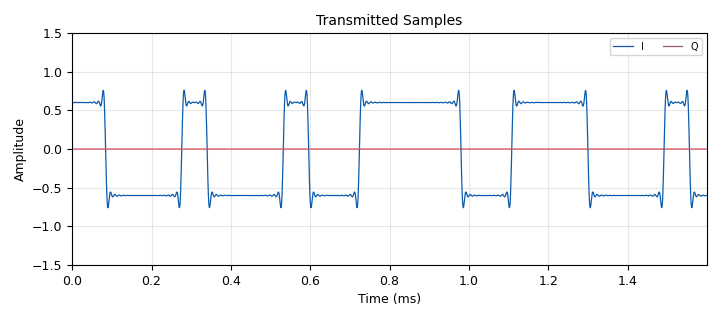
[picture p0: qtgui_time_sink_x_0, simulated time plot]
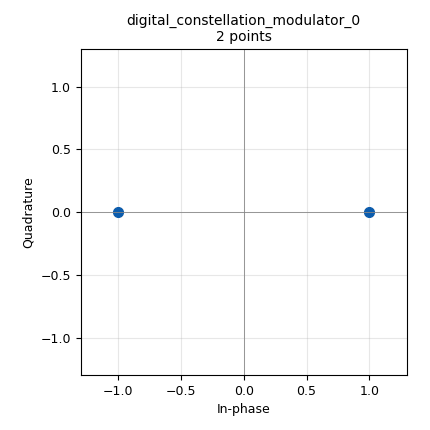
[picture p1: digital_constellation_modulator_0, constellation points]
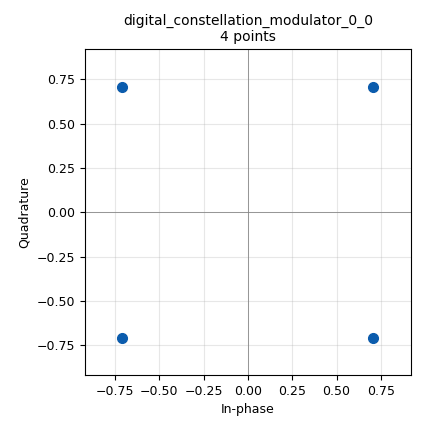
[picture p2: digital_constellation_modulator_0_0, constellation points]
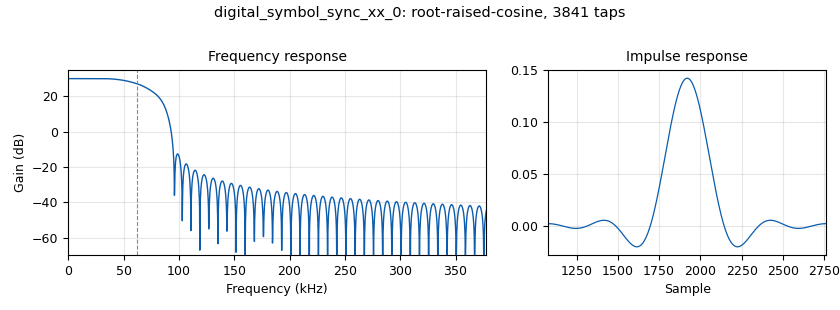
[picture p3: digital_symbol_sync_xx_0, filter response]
options:
  parameters:
    generate_options: qt_gui
    generator_class_name: PythonQtGuiGenerator
    generator_module: gnuradio.grc.workflows.python_qt_gui
    id: VariableModulation
    output_language: python
    title: Variable Modulations
  states: {}

blocks:
- name: alpha
  id: variable
  parameters:
    value: '0.5'
  states: {}
- name: bpsk
  id: variable_constellation
  parameters:
    const_points: '[-1+0j, 1 + 0j]'
    dims: '1'
    normalization: digital.constellation.AMPLITUDE_NORMALIZATION
    npwr: '1'
    precision: '8'
    rot_sym: '4'
    sym_map: '[0, 1]'
    type: calcdist
  states: {}
- name: buff_size
  id: variable
  parameters:
    value: 2**15
  states: {}
- name: const_chooser
  id: variable_qtgui_chooser
  parameters:
    gui_hint: (0, 0, 1, 2)
    label0: bpsk
    label1: qpsk
    label2: qam16
    label3: qam32
    num_opts: '4'
    option0: '0'
    option1: '1'
    option2: '2'
    option3: '3'
    orient: Qt.QHBoxLayout
    type: raw
    value: '0'
    widget: radio_buttons
  states: {}
- name: costas_loop_bw
  id: variable_qtgui_range
  parameters:
    gui_hint: (4,1,1,1)
    label: Costas Loop Bw [cycles/sample]
    start: '0.001'
    step: '0.001'
    stop: '0.2'
    value: '0.02'
  states: {}
- name: lms
  id: variable_adaptive_algorithm
  parameters:
    cons: qam16
    step_size: '0.3'
    type: lms
  states: {}
- name: lms_32
  id: variable_adaptive_algorithm
  parameters:
    cons: qam32
    step_size: '0.6'
    type: lms
  states: {}
- name: lo_freq
  id: variable
  parameters:
    value: '2200000000'
  states: {}
- name: lo_p
  id: variable_qtgui_range
  parameters:
    gui_hint: (6, 1, 1, 1)
    label: LO Diff
    start: '-25000'
    step: '10'
    stop: '25000'
    value: '0'
  states: {}
- name: nfilts
  id: variable
  parameters:
    value: '32'
  states: {}
- name: offset_rx
  id: variable_qtgui_range
  parameters:
    gui_hint: (6, 0, 1, 1)
    start: '-3 * 10 ** 5'
    step: '1'
    stop: 2.5 * 10 **5
    value: '-10 **  5'
  states: {}
- name: offset_tx
  id: variable
  parameters:
    value: '100000'
  states: {}
- name: out_sps
  id: variable
  parameters:
    value: '1'
  states: {}
- name: phase_shift_after_costas_loop
  id: variable_qtgui_range
  parameters:
    gui_hint: (4,0,1,1)
    label: Ph Shift (after CL) [rad]
    start: '0'
    step: '0.01'
    stop: 2*math.pi
    value: '0'
  states: {}
- name: pluto_ip_rx
  id: variable_config
  parameters:
    config_file: default
    option: key
    section: main
    type: string
    value: ip:192.168.2.1
    writeback: None
  states: {}
- name: pluto_ip_tx
  id: variable_config
  parameters:
    config_file: default
    option: key
    section: main
    type: string
    value: ip:192.168.3.1
    writeback: None
  states: {}
- name: qam16
  id: variable_constellation
  parameters:
    const_points: '[-3-3j, -1-3j, 1-3j, 3-3j, -3-1j, -1-1j, 1-1j, 3-1j, -3+1j, -1+1j, 1+1j, 3+1j, -3+3j, -1+3j, 1+3j, 3+3j]'
    dims: '1'
    normalization: digital.constellation.AMPLITUDE_NORMALIZATION
    npwr: '1'
    precision: '8'
    rot_sym: '4'
    sym_map: '[0, 1, 2, 3, 4, 5, 6, 7, 8, 9, 10, 11, 12, 13, 14, 15]'
    type: calcdist
  states: {}
- name: qam32
  id: variable_constellation
  parameters:
    const_points: '[-5-3j, -3-3j, -1-3j, 1-3j, 3-3j, 5-3j, -5-1j, -3-1j, -1-1j, 1-1j, 3-1j, 5-1j, -5+1j, -3+1j, -1+1j, 1+1j, 3+1j, 5+1j, -5+3j, -3+3j, -1+3j, 1+3j, 3+3j, 5+3j, -3-5j, -1-5j, 1-5j, 3-5j, -3+5j, -1+5j, 1+5j, 3+5j]'
    dims: '1'
    normalization: digital.constellation.AMPLITUDE_NORMALIZATION
    npwr: '1'
    precision: '8'
    rot_sym: '4'
    sym_map: '[0, 1, 2, 3, 4, 5, 6, 7, 8, 9, 10, 11, 12, 13, 14, 15, 16, 17, 18, 19, 20, 21, 22, 23, 24, 25, 26, 27, 28, 29, 30, 31]'
    type: calcdist
  states: {}
- name: qpsk
  id: variable_constellation
  parameters:
    const_points: '[-1 - 1j, +1 - 1j, +1+1j, -1 + 1j]'
    dims: '1'
    normalization: digital.constellation.AMPLITUDE_NORMALIZATION
    npwr: '1'
    precision: '8'
    rot_sym: '4'
    sym_map: '[0, 1, 2, 3]'
    type: calcdist
  states: {}
- name: rnd_mod_fnc
  id: variable_function_probe
  parameters:
    block_id: rnd_mod
    function_name: level
    poll_rate: '1'
    value: '0'
  states: {}
- name: rrc_taps
  id: variable_rrc_filter_taps
  parameters:
    alpha: alpha
    gain: nfilts
    ntaps: 15 * sps * nfilts
    samp_rate: nfilts * samp_rate
    sym_rate: samp_rate/sps
  states: {}
- name: rx_gain
  id: variable_qtgui_range
  parameters:
    gui_hint: (2,1,1,1)
    start: '0'
    step: '1'
    stop: '60'
    value: '15'
  states: {}
- name: samp_rate
  id: variable
  parameters:
    value: 10**6
  states: {}
- name: sps
  id: variable
  parameters:
    value: '8'
  states: {}
- name: tx_attenuation
  id: variable_qtgui_range
  parameters:
    gui_hint: (2,0,1,1)
    start: '0'
    step: '1'
    stop: '89'
    value: '10'
  states: {}
- name: analog_agc_xx_0
  id: analog_agc_xx
  parameters:
    gain: '1.0'
    max_gain: '65536'
    rate: '1e-4'
    reference: '1.0'
    type: complex
  states: {}
- name: analog_random_uniform_source_x_0
  id: analog_random_uniform_source_x
  parameters:
    maximum: '256'
    minimum: '0'
    seed: '0'
    type: byte
  states: {}
- name: analog_random_uniform_source_x_1
  id: analog_random_uniform_source_x
  parameters:
    maximum: '256'
    minimum: '0'
    seed: '0'
    type: byte
  states: {}
- name: analog_random_uniform_source_x_2
  id: analog_random_uniform_source_x
  parameters:
    maximum: '256'
    minimum: '0'
    seed: '0'
    type: byte
  states: {}
- name: analog_random_uniform_source_x_3
  id: analog_random_uniform_source_x
  parameters:
    maximum: '256'
    minimum: '0'
    seed: '0'
    type: byte
  states: {}
- name: analog_random_uniform_source_x_3_0
  id: analog_random_uniform_source_x
  parameters:
    maximum: '4'
    minimum: '0'
    seed: '0'
    type: byte
  states: {}
- name: analog_sig_source_x_0
  id: analog_sig_source_x
  parameters:
    amp: '1'
    freq: offset_tx
    offset: '0'
    phase: '0'
    samp_rate: samp_rate
    type: complex
    waveform: analog.GR_COS_WAVE
  states: {}
- name: analog_sig_source_x_0_0
  id: analog_sig_source_x
  parameters:
    amp: '1'
    freq: offset_rx
    offset: '0'
    phase: '0'
    samp_rate: samp_rate
    type: complex
    waveform: analog.GR_COS_WAVE
  states: {}
- name: blocks_keep_one_in_n_0
  id: blocks_keep_one_in_n
  parameters:
    n: '1000'
    type: byte
  states: {}
- name: blocks_multiply_const_vxx_0
  id: blocks_multiply_const_vxx
  parameters:
    const: '0.6'
    type: complex
  states: {}
- name: blocks_multiply_xx_0
  id: blocks_multiply_xx
  parameters:
    type: complex
  states: {}
- name: blocks_multiply_xx_0_0
  id: blocks_multiply_xx
  parameters:
    type: complex
  states: {}
- name: blocks_packed_to_unpacked_xx_0
  id: blocks_packed_to_unpacked_xx
  parameters:
    bits_per_chunk: '1'
    endianness: gr.GR_MSB_FIRST
    type: byte
  states: {}
- name: blocks_packed_to_unpacked_xx_0_0
  id: blocks_packed_to_unpacked_xx
  parameters:
    bits_per_chunk: '2'
    endianness: gr.GR_MSB_FIRST
    type: byte
  states: {}
- name: blocks_packed_to_unpacked_xx_0_1
  id: blocks_packed_to_unpacked_xx
  parameters:
    bits_per_chunk: '4'
    endianness: gr.GR_MSB_FIRST
    type: byte
  states: {}
- name: blocks_packed_to_unpacked_xx_0_1_0
  id: blocks_packed_to_unpacked_xx
  parameters:
    bits_per_chunk: '5'
    endianness: gr.GR_MSB_FIRST
    type: byte
  states: {}
- name: blocks_phase_shift_0
  id: blocks_phase_shift
  parameters:
    is_radians: 'True'
    shift: phase_shift_after_costas_loop
  states: {}
- name: blocks_selector_0_0
  id: blocks_selector
  parameters:
    enabled: 'True'
    input_index: const_chooser
    num_inputs: '4'
    num_outputs: '1'
    output_index: '0'
    type: complex
  states: {}
- name: blocks_selector_0_0_0
  id: blocks_selector
  parameters:
    enabled: 'True'
    input_index: const_chooser
    num_inputs: '4'
    num_outputs: '1'
    output_index: '0'
    type: complex
  states: {}
- name: blocks_selector_0_1
  id: blocks_selector
  parameters:
    enabled: 'True'
    input_index: '0'
    num_inputs: '1'
    num_outputs: '4'
    output_index: const_chooser
    type: complex
  states: {}
- name: blocks_skiphead_0
  id: blocks_skiphead
  parameters:
    num_items: samp_rate
    type: complex
  states: {}
- name: blocks_stream_to_vector_0
  id: blocks_stream_to_vector
  parameters:
    num_items: '2048'
    type: complex
  states: {}
- name: digital_constellation_modulator_0
  id: digital_constellation_modulator
  parameters:
    constellation: bpsk
    differential: 'True'
    excess_bw: alpha
    samples_per_symbol: sps
  states: {}
- name: digital_constellation_modulator_0_0
  id: digital_constellation_modulator
  parameters:
    constellation: qpsk
    differential: 'True'
    excess_bw: alpha
    samples_per_symbol: sps
  states: {}
- name: digital_constellation_modulator_0_0_0
  id: digital_constellation_modulator
  parameters:
    constellation: qam16
    differential: 'True'
    excess_bw: alpha
    samples_per_symbol: sps
  states: {}
- name: digital_constellation_modulator_0_0_0_0
  id: digital_constellation_modulator
  parameters:
    constellation: qam32
    differential: 'True'
    excess_bw: alpha
    samples_per_symbol: sps
  states: {}
- name: digital_costas_loop_cc_0
  id: digital_costas_loop_cc
  parameters:
    order: bpsk.arity()
    w: 2*math.pi*costas_loop_bw
  states: {}
- name: digital_costas_loop_cc_0_0
  id: digital_costas_loop_cc
  parameters:
    order: qpsk.arity()
    w: 2*math.pi*costas_loop_bw
  states: {}
- name: digital_fll_band_edge_cc_0
  id: digital_fll_band_edge_cc
  parameters:
    filter_size: sps*2+1
    rolloff: alpha
    samps_per_sym: sps
    type: cc
    w: 2*math.pi/sps/100
  states: {}
- name: digital_linear_equalizer_0
  id: digital_linear_equalizer
  parameters:
    alg: lms
    num_taps: '1'
    sps: out_sps
    training_start_tag: '""'
  states: {}
- name: digital_linear_equalizer_0_0
  id: digital_linear_equalizer
  parameters:
    alg: lms_32
    num_taps: '1'
    sps: out_sps
    training_start_tag: '""'
  states: {}
- name: digital_symbol_sync_xx_0
  id: digital_symbol_sync_xx
  parameters:
    constellation: None
    damping: '0.707'
    loop_bw: '0.015'
    max_dev: '1.5'
    nfilters: nfilts
    osps: out_sps
    pfb_mf_taps: rrc_taps
    resamp_type: digital.IR_PFB_MF
    sps: sps
    ted_gain: '2'
    ted_type: digital.TED_GARDNER
    type: cc
  states: {}
- name: epy_block_0
  id: epy_block
  parameters:
    _source_code: |
      import numpy as np
      from gnuradio import gr

      class labeled_iq_block(gr.sync_block):
          """Appends modulation label to I/Q vector"""
          
          def __init__(self, label_var=0):
              gr.sync_block.__init__(
                  self,
                  name='Labeled IQ',
                  in_sig=[(np.complex64, 2048)],  # Input: 2048 complex samples
                  out_sig=[(np.float32, 4097)]    # Output: 4096 floats + 1 label
              )
              self.label_var = label_var
          
          def set_label_var(self, label_var):
              self.label_var = label_var
          
          def work(self, input_items, output_items):
              # Get label - handle both callable and direct value
              if callable(self.label_var):
                  label = float(self.label_var())
              else:
                  label = float(self.label_var)
              
              for i in range(len(input_items[0])):
                  iq = input_items[0][i]
                  # Interleave I/Q: [I0, Q0, I1, Q1, ...]
                  output_items[0][i][:4096:2] = iq.real
                  output_items[0][i][1:4096:2] = iq.imag
                  # Append label as last element
                  output_items[0][i][4096] = label
              return len(input_items[0])
    label_var: const_chooser
  states: {state: disabled}
- name: iio_pluto_sink_0
  id: iio_pluto_sink
  parameters:
    attenuation1: tx_attenuation
    bandwidth: samp_rate * 5
    buffer_size: buff_size
    cyclic: 'False'
    filter_source: '''Auto'''
    frequency: lo_freq + lo_p
    samplerate: samp_rate
    type: fc32
    uri: pluto_ip_tx
  states: {}
- name: iio_pluto_source_0
  id: iio_pluto_source
  parameters:
    bandwidth: samp_rate * 5
    bbdc: 'True'
    buffer_size: buff_size
    filter_source: '''Auto'''
    frequency: lo_freq
    gain1: '''manual'''
    manual_gain1: rx_gain
    quadrature: 'True'
    rfdc: 'True'
    samplerate: samp_rate
    type: fc32
    uri: pluto_ip_rx
  states: {}
- name: import_0
  id: import
  parameters:
    imports: import math
  states: {}
- name: import_0_0
  id: import
  parameters:
    imports: import numpy as np
  states: {}
- name: note_0
  id: note
  parameters:
    note: Used for sending samples through a network
  states: {}
- name: qtgui_const_sink_x_0
  id: qtgui_const_sink_x
  parameters:
    grid: 'True'
    gui_hint: (3,1,1,1)
    label1: Before fine-tuning
    label2: After fine-tuning
    name: Constellation After Sync
    nconnections: '2'
    size: 1024 * 2
    type: complex
    update_time: '0.1'
  states: {}
- name: qtgui_const_sink_x_1
  id: qtgui_const_sink_x
  parameters:
    gui_hint: (3, 0, 1, 1)
    label1: Before Sync
    name: '"Constellation Before Sync"'
    size: '1024'
    type: complex
    update_time: '0.1'
  states: {}
- name: qtgui_eye_sink_x_0
  id: qtgui_eye_sink_x
  parameters:
    gui_hint: (7,0,1,2)
    samp_per_symbol: '1'
    size: '100'
    srate: samp_rate
    type: complex
    update_time: '0.1'
    yunit: ''
  states: {}
- name: qtgui_freq_sink_x_0_0
  id: qtgui_freq_sink_x
  parameters:
    bw: samp_rate / 2
    fc: '0'
    fftsize: '8192'
    gui_hint: (5,0,1,2)
    label1: TX
    label2: RX Raw
    label3: RX After Filter
    name: '"Frequencies"'
    nconnections: '3'
    type: complex
    update_time: '0.1'
    ymin: '-145'
  states: {}
- name: qtgui_time_sink_x_0
  id: qtgui_time_sink_x
  parameters:
    gui_hint: (1,0,1,1)
    label1: I
    label2: Q
    name: Transmitted Samples
    size: 200 * sps
    srate: samp_rate
    type: complex
    update_time: '0.1'
    ylabel: '"Amplitude"'
    ymax: '1.5'
    ymin: '-1.5'
  states: {}
- name: qtgui_time_sink_x_1
  id: qtgui_time_sink_x
  parameters:
    gui_hint: (1,1,1,1)
    label1: I
    label2: Q
    name: '"Received Samples"'
    size: '200'
    srate: samp_rate
    type: complex
    update_time: '0.1'
    ymax: '1.5'
    ymin: '-1.5'
  states: {}
- name: rnd_mod
  id: blocks_probe_signal_x
  parameters:
    type: byte
  states: {}
- name: virtual_sink_0
  id: virtual_sink
  parameters:
    stream_id: pluto_rx_baseband
  states: {}
- name: virtual_sink_0_0
  id: virtual_sink
  parameters:
    stream_id: pluto_tx_baseband
  states: {}
- name: virtual_sink_0_1
  id: virtual_sink
  parameters:
    stream_id: pluto_rx_sync
  states: {}
- name: virtual_sink_0_2
  id: virtual_sink
  parameters:
    stream_id: pluto_rx_fll
  states: {}
- name: virtual_source_0
  id: virtual_source
  parameters:
    stream_id: pluto_rx_baseband
  states: {}
- name: virtual_source_0_0
  id: virtual_source
  parameters:
    stream_id: pluto_rx_baseband
  states: {}
- name: virtual_source_0_1
  id: virtual_source
  parameters:
    stream_id: pluto_tx_baseband
  states: {}
- name: virtual_source_0_1_0
  id: virtual_source
  parameters:
    stream_id: pluto_rx_sync
  states: {}
- name: virtual_source_0_1_0_0
  id: virtual_source
  parameters:
    stream_id: pluto_tx_baseband
  states: {}
- name: virtual_source_0_2
  id: virtual_source
  parameters:
    stream_id: pluto_rx_fll
  states: {}
- name: virtual_source_0_2_0
  id: virtual_source
  parameters:
    stream_id: pluto_rx_fll
  states: {}
- name: zeromq_pub_sink_0
  id: zeromq_pub_sink
  parameters:
    address: tcp://127.0.0.1:5555
    hwm: '1000'
    timeout: '100'
    type: complex
    vlen: '2048'
  states: {}

connections:
- [analog_agc_xx_0, '0', digital_fll_band_edge_cc_0, '0']
- [analog_random_uniform_source_x_0, '0', blocks_packed_to_unpacked_xx_0, '0']
- [analog_random_uniform_source_x_1, '0', blocks_packed_to_unpacked_xx_0_0, '0']
- [analog_random_uniform_source_x_2, '0', blocks_packed_to_unpacked_xx_0_1, '0']
- [analog_random_uniform_source_x_3, '0', blocks_packed_to_unpacked_xx_0_1_0, '0']
- [analog_random_uniform_source_x_3_0, '0', blocks_keep_one_in_n_0, '0']
- [analog_sig_source_x_0, '0', blocks_multiply_xx_0, '0']
- [analog_sig_source_x_0_0, '0', blocks_multiply_xx_0_0, '1']
- [blocks_keep_one_in_n_0, '0', rnd_mod, '0']
- [blocks_multiply_const_vxx_0, '0', blocks_multiply_xx_0, '1']
- [blocks_multiply_const_vxx_0, '0', virtual_sink_0_0, '0']
- [blocks_multiply_xx_0, '0', iio_pluto_sink_0, '0']
- [blocks_multiply_xx_0_0, '0', analog_agc_xx_0, '0']
- [blocks_multiply_xx_0_0, '0', virtual_sink_0, '0']
- [blocks_packed_to_unpacked_xx_0, '0', digital_constellation_modulator_0, '0']
- [blocks_packed_to_unpacked_xx_0_0, '0', digital_constellation_modulator_0_0, '0']
- [blocks_packed_to_unpacked_xx_0_1, '0', digital_constellation_modulator_0_0_0, '0']
- [blocks_packed_to_unpacked_xx_0_1_0, '0', digital_constellation_modulator_0_0_0_0, '0']
- [blocks_phase_shift_0, '0', qtgui_const_sink_x_0, '1']
- [blocks_phase_shift_0, '0', qtgui_eye_sink_x_0, '0']
- [blocks_phase_shift_0, '0', qtgui_time_sink_x_1, '0']
- [blocks_selector_0_0, '0', blocks_multiply_const_vxx_0, '0']
- [blocks_selector_0_0_0, '0', blocks_phase_shift_0, '0']
- [blocks_selector_0_1, '0', digital_costas_loop_cc_0, '0']
- [blocks_selector_0_1, '1', digital_costas_loop_cc_0_0, '0']
- [blocks_selector_0_1, '2', digital_linear_equalizer_0, '0']
- [blocks_selector_0_1, '3', digital_linear_equalizer_0_0, '0']
- [blocks_skiphead_0, '0', digital_symbol_sync_xx_0, '0']
- [blocks_stream_to_vector_0, '0', epy_block_0, '0']
- [blocks_stream_to_vector_0, '0', zeromq_pub_sink_0, '0']
- [digital_constellation_modulator_0, '0', blocks_selector_0_0, '0']
- [digital_constellation_modulator_0_0, '0', blocks_selector_0_0, '1']
- [digital_constellation_modulator_0_0_0, '0', blocks_selector_0_0, '2']
- [digital_constellation_modulator_0_0_0_0, '0', blocks_selector_0_0, '3']
- [digital_costas_loop_cc_0, '0', blocks_selector_0_0_0, '0']
- [digital_costas_loop_cc_0_0, '0', blocks_selector_0_0_0, '1']
- [digital_fll_band_edge_cc_0, '0', blocks_skiphead_0, '0']
- [digital_fll_band_edge_cc_0, '0', virtual_sink_0_2, '0']
- [digital_linear_equalizer_0, '0', blocks_selector_0_0_0, '2']
- [digital_linear_equalizer_0_0, '0', blocks_selector_0_0_0, '3']
- [digital_symbol_sync_xx_0, '0', blocks_selector_0_1, '0']
- [digital_symbol_sync_xx_0, '0', virtual_sink_0_1, '0']
- [epy_block_0, '0', zeromq_pub_sink_0, '0']
- [iio_pluto_source_0, '0', blocks_multiply_xx_0_0, '0']
- [virtual_source_0, '0', qtgui_freq_sink_x_0_0, '1']
- [virtual_source_0_0, '0', blocks_stream_to_vector_0, '0']
- [virtual_source_0_1, '0', qtgui_freq_sink_x_0_0, '0']
- [virtual_source_0_1_0, '0', qtgui_const_sink_x_0, '0']
- [virtual_source_0_1_0_0, '0', qtgui_time_sink_x_0, '0']
- [virtual_source_0_2, '0', qtgui_freq_sink_x_0_0, '2']
- [virtual_source_0_2_0, '0', qtgui_const_sink_x_1, '0']

metadata:
  file_format: 1
  grc_version: 3.10.12.0
